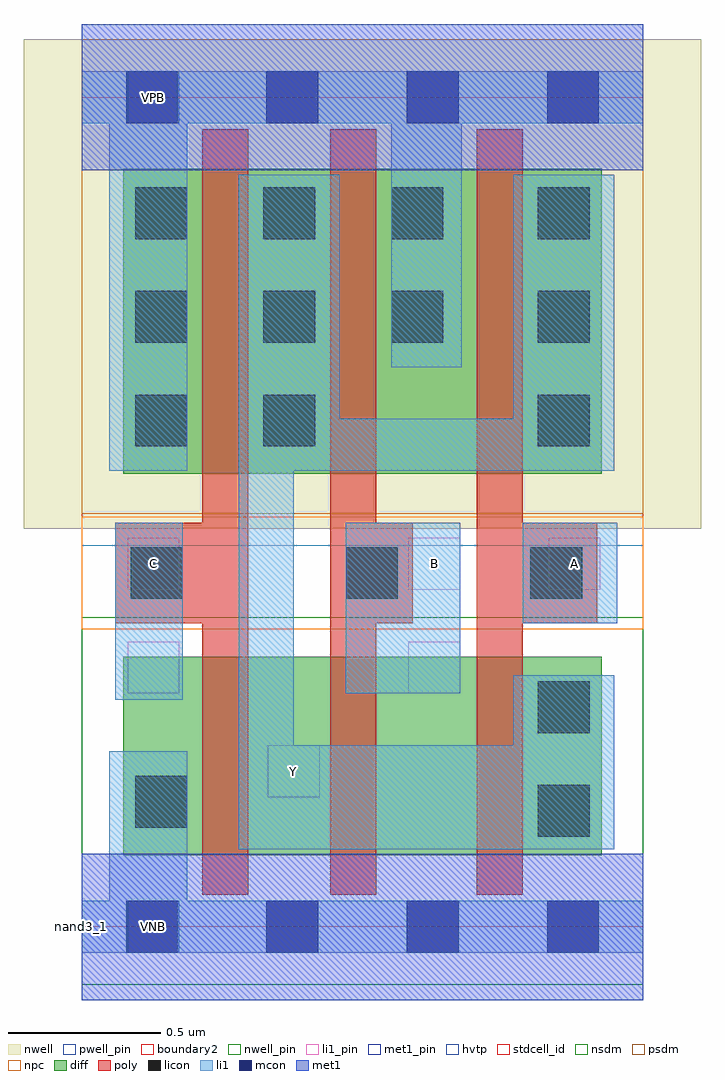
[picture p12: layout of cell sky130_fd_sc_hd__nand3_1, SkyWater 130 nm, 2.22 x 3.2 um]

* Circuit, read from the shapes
.subckt sky130_fd_sc_hd__nand3_1 A B C VGND VNB VPB VPWR Y
XM1 n1 C VGND VNB sky130_fd_pr__nfet_01v8 w=0.65 l=0.15
XM2 n2 B n1 VNB sky130_fd_pr__nfet_01v8 w=0.65 l=0.15
XM3 Y A n2 VNB sky130_fd_pr__nfet_01v8 w=0.65 l=0.15
XM4 Y C VPWR VPB sky130_fd_pr__pfet_01v8_hvt w=1 l=0.15
XM5 VPWR B Y VPB sky130_fd_pr__pfet_01v8_hvt w=1 l=0.15
XM6 Y A VPWR VPB sky130_fd_pr__pfet_01v8_hvt w=1 l=0.15
.ends

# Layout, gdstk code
import gdstk
lib = gdstk.Library(unit=1e-6, precision=1e-09)
def R(c, l, rs):  # rectangles x0, y0, x1, y1
    for r in rs: c.add(gdstk.rectangle(r[:2], r[2:], *l))
def A(c, l, x, y, w, h, nx, ny, dx, dy):  # array of equal rectangles
    R(c, l, [(x+i*dx, y+j*dy, x+i*dx+w, y+j*dy+h) for i in range(nx) for j in range(ny)])
def P(c, l, *ps):  # polygons
    for p in ps: c.add(gdstk.Polygon(p, *l))
nwell_pin = (64, 16)
nwell = (64, 20)
diff = (65, 20)
poly = (66, 20)
licon = (66, 44)
li1_pin = (67, 16)
li1 = (67, 20)
mcon = (67, 44)
met1_pin = (68, 16)
met1 = (68, 20)
hvtp = (78, 44)
stdcell_id = (81, 4)
nsdm = (93, 44)
psdm = (94, 20)
npc = (95, 20)
pwell_pin = (122, 16)
boundary2 = (236, 0)

sky130_fd_sc_hd__nand3_1 = lib.new_cell('sky130_fd_sc_hd__nand3_1')
R(sky130_fd_sc_hd__nand3_1, nwell_pin, [(0.15,2.635,0.32,2.805)])
R(sky130_fd_sc_hd__nand3_1, nwell, [(-0.19,1.305,2.03,2.91)])
R(sky130_fd_sc_hd__nand3_1, diff, [(0.135,0.235,1.705,0.885), (0.135,1.485,1.705,2.485)])
P(sky130_fd_sc_hd__nand3_1, poly, [(1.69,1.325),(1.445,1.325),(1.445,2.615),(1.295,2.615),(1.295,0.105),(1.445,0.105),(1.445,0.995),(1.69,0.995)],
  [(1.085,1.325),(0.965,1.325),(0.965,2.615),(0.815,2.615),(0.815,0.105),(0.965,0.105),(0.965,0.995),(1.085,0.995)],
  [(0.545,2.615),(0.395,2.615),(0.395,1.325),(0.11,1.325),(0.11,0.995),(0.395,0.995),(0.395,0.105),(0.545,0.105)])
A(sky130_fd_sc_hd__nand3_1, licon, 1.495, 1.575, 0.17, 0.17, 1, 3, 0, 0.34)
A(sky130_fd_sc_hd__nand3_1, licon, 0.175, 1.915, 0.17, 0.17, 3, 2, 0.42, 0.34)
R(sky130_fd_sc_hd__nand3_1, licon, [(1.495,0.295,1.665,0.465), (0.175,0.325,0.345,0.495), (1.495,0.635,1.665,0.805), (0.16,1.075,0.33,1.245), (0.865,1.075,1.035,1.245), (1.47,1.075,1.64,1.245), (0.175,1.575,0.345,1.745), (0.595,1.575,0.765,1.745)])
R(sky130_fd_sc_hd__nand3_1, li1_pin, [(0.61,0.425,0.78,0.595), (0.15,0.765,0.32,0.935), (1.07,0.765,1.24,0.935), (0.15,1.105,0.32,1.275), (1.07,1.105,1.24,1.275), (1.53,1.105,1.7,1.275)])
R(sky130_fd_sc_hd__nand3_1, li1, [(0.11,0.745,0.33,1.325), (0.865,0.765,1.24,1.325), (1.445,0.995,1.755,1.325)])
P(sky130_fd_sc_hd__nand3_1, li1, [(1.84,2.805),(0,2.805),(0,2.635),(0.09,2.635),(0.09,1.495),(0.345,1.495),(0.345,2.635),(1.015,2.635),(1.015,1.835),(1.245,1.835),(1.245,2.635),(1.84,2.635)],
  [(1.84,0.085),(0.345,0.085),(0.345,0.575),(0.09,0.575),(0.09,0.085),(0,0.085),(0,-0.085),(1.84,-0.085)],
  [(1.745,0.825),(1.415,0.825),(1.415,0.595),(0.695,0.595),(0.695,1.495),(1.745,1.495),(1.745,2.465),(1.415,2.465),(1.415,1.665),(0.845,1.665),(0.845,2.465),(0.515,2.465),(0.515,0.255),(1.745,0.255)])
A(sky130_fd_sc_hd__nand3_1, mcon, 0.145, -0.085, 0.17, 0.17, 4, 2, 0.46, 2.72)
R(sky130_fd_sc_hd__nand3_1, met1_pin, [(0.15,-0.085,0.32,0.085), (0.15,2.635,0.32,2.805)])
R(sky130_fd_sc_hd__nand3_1, hvtp, [(0,1.25,1.84,2.72)])
R(sky130_fd_sc_hd__nand3_1, stdcell_id, [(0,0,1.84,2.72)])
R(sky130_fd_sc_hd__nand3_1, nsdm, [(0,-0.19,1.84,1.015)])
R(sky130_fd_sc_hd__nand3_1, psdm, [(0,1.355,1.84,2.91)])
R(sky130_fd_sc_hd__nand3_1, npc, [(0,0.975,1.84,1.345)])
R(sky130_fd_sc_hd__nand3_1, pwell_pin, [(0.15,-0.085,0.32,0.085)])
R(sky130_fd_sc_hd__nand3_1, boundary2, [(0,0,1.84,2.72)])
sky130_fd_sc_hd__nand3_1.add(gdstk.FlexPath([(0,2.72),(1.84,2.72)], 0.48, ends="flush", simple_path=True, layer=68, datatype=20))  # met1
sky130_fd_sc_hd__nand3_1.add(gdstk.FlexPath([(0,0),(1.84,0)], 0.48, ends="flush", simple_path=True, layer=68, datatype=20))  # met1
sky130_fd_sc_hd__nand3_1.add(gdstk.Label('Y', (0.695,0.51), layer=67, texttype=5))
sky130_fd_sc_hd__nand3_1.add(gdstk.Label('A', (1.615,1.19), layer=67, texttype=5))
sky130_fd_sc_hd__nand3_1.add(gdstk.Label('C', (0.235,1.19), layer=67, texttype=5))
sky130_fd_sc_hd__nand3_1.add(gdstk.Label('B', (1.155,1.19), layer=67, texttype=5))
sky130_fd_sc_hd__nand3_1.add(gdstk.Label('VPB', (0.235,2.72), layer=64, texttype=5))
sky130_fd_sc_hd__nand3_1.add(gdstk.Label('VNB', (0.235,0), layer=64, texttype=59))
sky130_fd_sc_hd__nand3_1.add(gdstk.Label('VGND', (0.235,0), layer=68, texttype=5))
sky130_fd_sc_hd__nand3_1.add(gdstk.Label('VPWR', (0.235,2.72), layer=68, texttype=5))
sky130_fd_sc_hd__nand3_1.add(gdstk.Label('nand3_1', (0,0), layer=83, texttype=44))

lib.write_gds('sky130_fd_sc_hd__nand3_1.gds')
